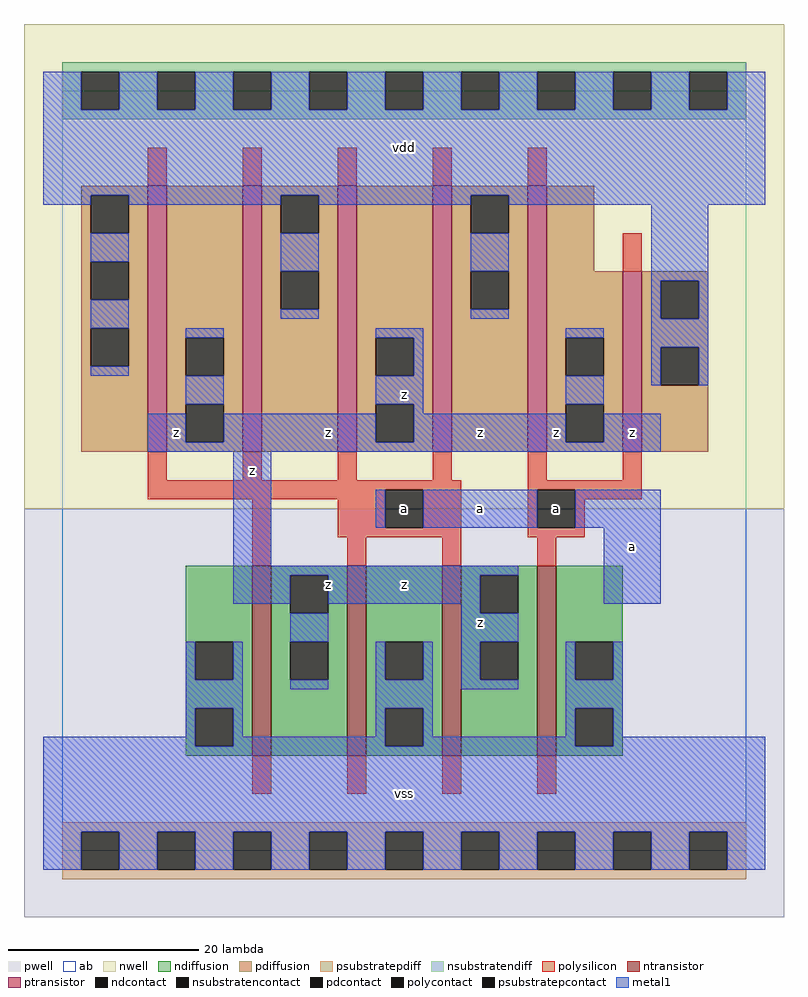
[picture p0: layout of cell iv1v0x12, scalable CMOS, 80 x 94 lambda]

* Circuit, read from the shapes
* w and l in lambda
.subckt iv1v0x12 a vdd vss z
M1 z a vss vss nfet w=20 l=2 m=4
M2 z a vdd vdd pfet w=28 l=2 m=5
M3 vdd a z vdd pfet w=19 l=2
.ends

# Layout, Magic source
magic
tech scmos
<< ab >>
rect 0 0 72 80
<< pwell >>
rect -4 -7 76 36
<< nwell >>
rect -4 36 76 87
<< polysilicon >>
rect 9 70 11 74
rect 19 70 21 74
rect 29 70 31 74
rect 39 70 41 74
rect 49 70 51 74
rect 59 61 61 65
rect 9 39 11 42
rect 19 39 21 42
rect 29 39 31 42
rect 39 39 41 42
rect 49 39 51 42
rect 59 39 61 42
rect 9 38 42 39
rect 9 37 34 38
rect 20 30 22 37
rect 29 34 34 37
rect 38 34 42 38
rect 29 33 42 34
rect 49 38 61 39
rect 49 34 50 38
rect 54 37 61 38
rect 54 34 55 37
rect 49 33 55 34
rect 30 30 32 33
rect 40 30 42 33
rect 50 30 52 33
rect 20 6 22 10
rect 30 6 32 10
rect 40 6 42 10
rect 50 6 52 10
<< ndiffusion >>
rect 13 22 20 30
rect 13 18 14 22
rect 18 18 20 22
rect 13 15 20 18
rect 13 11 14 15
rect 18 11 20 15
rect 13 10 20 11
rect 22 29 30 30
rect 22 25 24 29
rect 28 25 30 29
rect 22 22 30 25
rect 22 18 24 22
rect 28 18 30 22
rect 22 10 30 18
rect 32 22 40 30
rect 32 18 34 22
rect 38 18 40 22
rect 32 15 40 18
rect 32 11 34 15
rect 38 11 40 15
rect 32 10 40 11
rect 42 29 50 30
rect 42 25 44 29
rect 48 25 50 29
rect 42 22 50 25
rect 42 18 44 22
rect 48 18 50 22
rect 42 10 50 18
rect 52 22 59 30
rect 52 18 54 22
rect 58 18 59 22
rect 52 15 59 18
rect 52 11 54 15
rect 58 11 59 15
rect 52 10 59 11
<< pdiffusion >>
rect 2 69 9 70
rect 2 65 3 69
rect 7 65 9 69
rect 2 62 9 65
rect 2 58 3 62
rect 7 58 9 62
rect 2 55 9 58
rect 2 51 3 55
rect 7 51 9 55
rect 2 42 9 51
rect 11 54 19 70
rect 11 50 13 54
rect 17 50 19 54
rect 11 47 19 50
rect 11 43 13 47
rect 17 43 19 47
rect 11 42 19 43
rect 21 69 29 70
rect 21 65 23 69
rect 27 65 29 69
rect 21 61 29 65
rect 21 57 23 61
rect 27 57 29 61
rect 21 42 29 57
rect 31 54 39 70
rect 31 50 33 54
rect 37 50 39 54
rect 31 47 39 50
rect 31 43 33 47
rect 37 43 39 47
rect 31 42 39 43
rect 41 69 49 70
rect 41 65 43 69
rect 47 65 49 69
rect 41 61 49 65
rect 41 57 43 61
rect 47 57 49 61
rect 41 42 49 57
rect 51 61 56 70
rect 51 54 59 61
rect 51 50 53 54
rect 57 50 59 54
rect 51 47 59 50
rect 51 43 53 47
rect 57 43 59 47
rect 51 42 59 43
rect 61 60 68 61
rect 61 56 63 60
rect 67 56 68 60
rect 61 53 68 56
rect 61 49 63 53
rect 67 49 68 53
rect 61 42 68 49
<< metal1 >>
rect -2 78 2 82
rect 6 78 10 82
rect 14 78 18 82
rect 22 78 26 82
rect 30 78 34 82
rect 38 78 42 82
rect 46 78 50 82
rect 54 78 58 82
rect 62 78 66 82
rect 70 78 74 82
rect -2 69 74 78
rect -2 68 3 69
rect 7 68 23 69
rect 3 62 7 65
rect 3 55 7 58
rect 27 68 43 69
rect 23 61 27 65
rect 23 56 27 57
rect 47 68 74 69
rect 43 61 47 65
rect 43 56 47 57
rect 62 60 68 68
rect 62 56 63 60
rect 67 56 68 60
rect 3 50 7 51
rect 13 54 17 55
rect 13 47 17 50
rect 9 43 13 46
rect 33 54 38 55
rect 37 50 38 54
rect 33 47 38 50
rect 17 43 33 46
rect 37 46 38 47
rect 53 54 57 55
rect 53 47 57 50
rect 62 53 68 56
rect 62 49 63 53
rect 67 49 68 53
rect 37 43 53 46
rect 57 43 63 46
rect 9 42 63 43
rect 18 30 22 42
rect 33 34 34 38
rect 38 34 50 38
rect 54 34 63 38
rect 18 29 48 30
rect 18 26 24 29
rect 28 26 44 29
rect 24 22 28 25
rect 42 25 44 26
rect 57 26 63 34
rect 42 22 48 25
rect 13 18 14 22
rect 18 18 19 22
rect 13 15 19 18
rect 24 17 28 18
rect 33 18 34 22
rect 38 18 39 22
rect 13 12 14 15
rect -2 11 14 12
rect 18 12 19 15
rect 33 15 39 18
rect 42 18 44 22
rect 42 17 48 18
rect 53 18 54 22
rect 58 18 59 22
rect 33 12 34 15
rect 18 11 34 12
rect 38 12 39 15
rect 53 15 59 18
rect 53 12 54 15
rect 38 11 54 12
rect 58 12 59 15
rect 58 11 74 12
rect -2 2 74 11
rect -2 -2 2 2
rect 6 -2 10 2
rect 14 -2 18 2
rect 22 -2 26 2
rect 30 -2 34 2
rect 38 -2 42 2
rect 46 -2 50 2
rect 54 -2 58 2
rect 62 -2 66 2
rect 70 -2 74 2
<< ntransistor >>
rect 20 10 22 30
rect 30 10 32 30
rect 40 10 42 30
rect 50 10 52 30
<< ptransistor >>
rect 9 42 11 70
rect 19 42 21 70
rect 29 42 31 70
rect 39 42 41 70
rect 49 42 51 70
rect 59 42 61 61
<< polycontact >>
rect 34 34 38 38
rect 50 34 54 38
<< ndcontact >>
rect 14 18 18 22
rect 14 11 18 15
rect 24 25 28 29
rect 24 18 28 22
rect 34 18 38 22
rect 34 11 38 15
rect 44 25 48 29
rect 44 18 48 22
rect 54 18 58 22
rect 54 11 58 15
<< pdcontact >>
rect 3 65 7 69
rect 3 58 7 62
rect 3 51 7 55
rect 13 50 17 54
rect 13 43 17 47
rect 23 65 27 69
rect 23 57 27 61
rect 33 50 37 54
rect 33 43 37 47
rect 43 65 47 69
rect 43 57 47 61
rect 53 50 57 54
rect 53 43 57 47
rect 63 56 67 60
rect 63 49 67 53
<< psubstratepcontact >>
rect 2 -2 6 2
rect 10 -2 14 2
rect 18 -2 22 2
rect 26 -2 30 2
rect 34 -2 38 2
rect 42 -2 46 2
rect 50 -2 54 2
rect 58 -2 62 2
rect 66 -2 70 2
<< nsubstratencontact >>
rect 2 78 6 82
rect 10 78 14 82
rect 18 78 22 82
rect 26 78 30 82
rect 34 78 38 82
rect 42 78 46 82
rect 50 78 54 82
rect 58 78 62 82
rect 66 78 70 82
<< psubstratepdiff >>
rect 0 2 72 3
rect 0 -2 2 2
rect 6 -2 10 2
rect 14 -2 18 2
rect 22 -2 26 2
rect 30 -2 34 2
rect 38 -2 42 2
rect 46 -2 50 2
rect 54 -2 58 2
rect 62 -2 66 2
rect 70 -2 72 2
rect 0 -3 72 -2
<< nsubstratendiff >>
rect 0 82 72 83
rect 0 78 2 82
rect 6 78 10 82
rect 14 78 18 82
rect 22 78 26 82
rect 30 78 34 82
rect 38 78 42 82
rect 46 78 50 82
rect 54 78 58 82
rect 62 78 66 82
rect 70 78 72 82
rect 0 77 72 78
<< labels >>
rlabel metal1 12 44 12 44 6 z
rlabel metal1 20 40 20 40 6 z
rlabel metal1 36 6 36 6 6 vss
rlabel metal1 28 28 28 28 6 z
rlabel metal1 36 28 36 28 6 z
rlabel metal1 28 44 28 44 6 z
rlabel polycontact 36 36 36 36 6 a
rlabel metal1 36 48 36 48 6 z
rlabel metal1 36 74 36 74 6 vdd
rlabel metal1 44 24 44 24 6 z
rlabel metal1 44 36 44 36 6 a
rlabel metal1 44 44 44 44 6 z
rlabel metal1 52 44 52 44 6 z
rlabel polycontact 52 36 52 36 6 a
rlabel metal1 60 32 60 32 6 a
rlabel metal1 60 44 60 44 6 z
<< end >>
